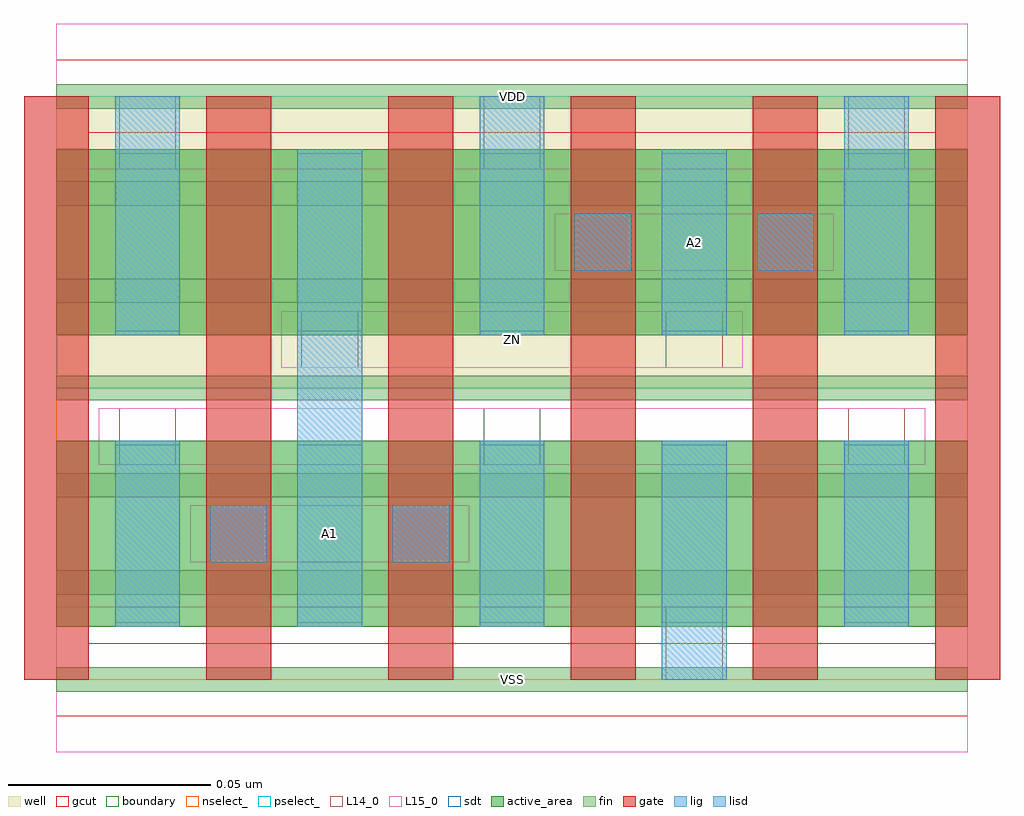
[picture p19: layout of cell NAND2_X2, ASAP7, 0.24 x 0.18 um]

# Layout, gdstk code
import gdstk
lib = gdstk.Library(unit=1e-6, precision=2.5e-10)
def R(c, l, rs):  # rectangles x0, y0, x1, y1
    for r in rs: c.add(gdstk.rectangle(r[:2], r[2:], *l))
def A(c, l, x, y, w, h, nx, ny, dx, dy):  # array of equal rectangles
    R(c, l, [(x+i*dx, y+j*dy, x+i*dx+w, y+j*dy+h) for i in range(nx) for j in range(ny)])
def P(c, l, *ps):  # polygons
    for p in ps: c.add(gdstk.Polygon(p, *l))
well = (1, 0)
fin = (2, 0)
gate = (7, 0)
gcut = (10, 0)
active_area = (11, 0)
nselect_ = (12, 0)
pselect_ = (13, 0)
L14_0 = (14, 0)
L15_0 = (15, 0)
lig = (16, 0)
lisd = (17, 0)
sdt = (88, 0)
boundary = (100, 0)

nand2_x2 = lib.new_cell('NAND2_X2')
R(nand2_x2, well, [(0,0.072,0.225,0.144)])
A(nand2_x2, fin, 0, -0.003, 0.225, 0.006, 1, 7, 0, 0.024)
A(nand2_x2, gate, -0.008, 0, 0.016, 0.144, 6, 1, 0.045, 0)
P(nand2_x2, gcut, [(0,-0.009),(0,0),(-0.008,0),(-0.008,0.135),(0.008,0.135),(0.008,0.009),(0.217,0.009),(0.217,0.135),(-0.008,0.135),(-0.008,0.144),(0,0.144),(0,0.153),(0.225,0.153),(0.225,0.144),(0.233,0.144),(0.233,0),(0.225,0),(0.225,-0.009)])
R(nand2_x2, active_area, [(0,0.013,0.225,0.059), (0,0.085,0.225,0.131)])
R(nand2_x2, nselect_, [(0,0,0.225,0.072)])
R(nand2_x2, pselect_, [(0,0.072,0.225,0.144)])
A(nand2_x2, L14_0, 0.0155, 0.053, 0.014, 0.014, 3, 1, 0.09, 0)
A(nand2_x2, L14_0, 0.0155, 0.126, 0.014, 0.018, 3, 1, 0.09, 0)
R(nand2_x2, L14_0, [(0.1505,0,0.1645,0.018), (0.038,0.029,0.052,0.043), (0.083,0.029,0.097,0.043), (0.0605,0.077,0.0745,0.091), (0.1505,0.077,0.1645,0.091), (0.128,0.101,0.142,0.115), (0.173,0.101,0.187,0.115)])
R(nand2_x2, L15_0, [(0,-0.018,0.225,0.018), (0.033,0.029,0.102,0.043), (0.0105,0.053,0.2145,0.067), (0.0555,0.077,0.1695,0.091), (0.123,0.101,0.192,0.115), (0,0.126,0.225,0.162)])
R(nand2_x2, lig, [(0.038,0.029,0.052,0.043), (0.083,0.029,0.097,0.043), (0.128,0.101,0.142,0.115), (0.173,0.101,0.187,0.115)])
A(nand2_x2, lisd, 0.0145, 0.013, 0.016, 0.046, 3, 1, 0.09, 0)
A(nand2_x2, lisd, 0.0145, 0.085, 0.016, 0.059, 3, 1, 0.09, 0)
R(nand2_x2, lisd, [(0.1495,0,0.1655,0.059), (0.0595,0.013,0.0755,0.131), (0.1495,0.085,0.1655,0.131)])
A(nand2_x2, sdt, 0.0145, 0.014, 0.016, 0.044, 5, 2, 0.045, 0.072)
R(nand2_x2, boundary, [(0,0,0.225,0.144)])
nand2_x2.add(gdstk.Label('ZN', (0.1125,0.084), layer=15, texttype=251))
nand2_x2.add(gdstk.Label('VSS', (0.1125,0), layer=15, texttype=251))
nand2_x2.add(gdstk.Label('VDD', (0.1125,0.144), layer=15, texttype=251))
nand2_x2.add(gdstk.Label('A1', (0.0675,0.036), layer=15, texttype=251))
nand2_x2.add(gdstk.Label('VSS', (0.1125,0), layer=15, texttype=251))
nand2_x2.add(gdstk.Label('VDD', (0.1125,0.144), layer=15, texttype=251))
nand2_x2.add(gdstk.Label('A2', (0.1575,0.108), layer=15, texttype=251))
nand2_x2.add(gdstk.Label('VSS', (0.1125,0), layer=15, texttype=251))
nand2_x2.add(gdstk.Label('VDD', (0.1125,0.144), layer=15, texttype=251))
nand2_x2.add(gdstk.Label('VSS', (0.1125,0), layer=3, texttype=251))
nand2_x2.add(gdstk.Label('VSS', (0.1125,0), layer=3, texttype=251))
nand2_x2.add(gdstk.Label('VSS', (0.1125,0), layer=3, texttype=251))
nand2_x2.add(gdstk.Label('VDD', (0.1125,0.144), layer=1, texttype=251))
nand2_x2.add(gdstk.Label('VDD', (0.1125,0.144), layer=1, texttype=251))
nand2_x2.add(gdstk.Label('VDD', (0.1125,0.144), layer=1, texttype=251))

lib.write_gds('NAND2_X2.gds')
